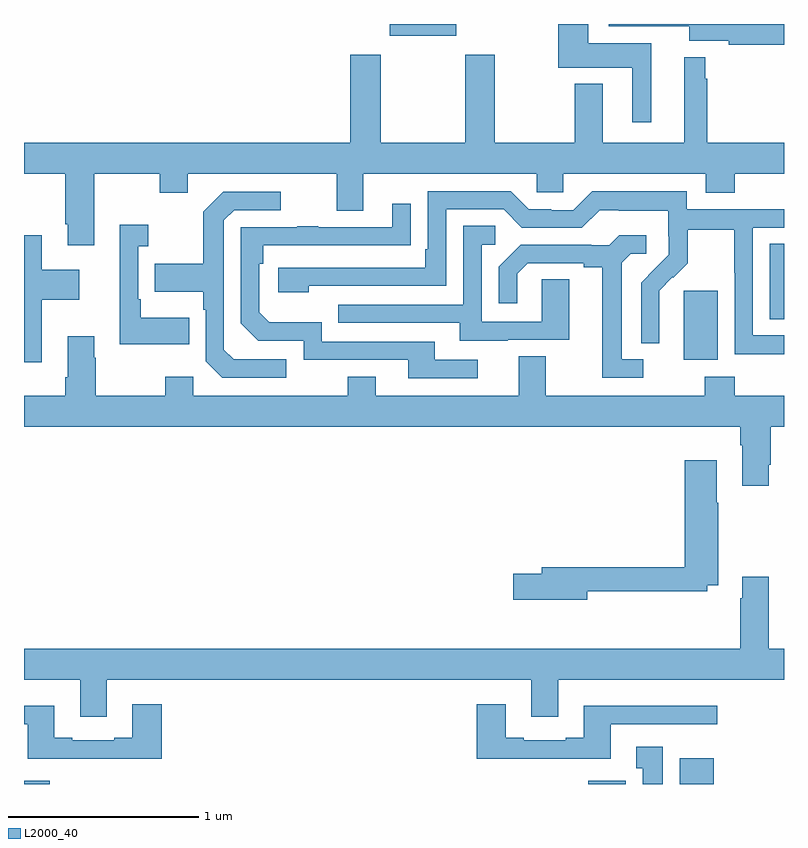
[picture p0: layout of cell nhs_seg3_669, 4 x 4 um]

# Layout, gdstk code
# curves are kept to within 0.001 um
import gdstk
lib = gdstk.Library(unit=1e-6, precision=1e-09)
def R(c, l, rs):  # rectangles x0, y0, x1, y1
    for r in rs: c.add(gdstk.rectangle(r[:2], r[2:], *l))
def P(c, l, *ps):  # polygons
    for p in ps: c.add(gdstk.Polygon(p, *l))
L2000_40 = (2000, 40)

nhs_seg3_669 = lib.new_cell('nhs_seg3_669')
R(nhs_seg3_669, L2000_40, [(145,668.4,145.135,668.416), (147.971,668.4,148.168,668.416), (148.451,668.4,148.63,668.536), (148.472,670.634,148.651,670.995), (148.925,670.846,149,671.243), (146.924,672.338,147.274,672.4)])
P(nhs_seg3_669, L2000_40, [(149,672.4),(148.077,672.4),(148.077,672.387),(148.502,672.387),(148.502,672.312),(148.708,672.312),(148.708,672.292),(149,672.292)],
  [(148.3,672.298),(147.97,672.298),(147.97,672.4),(147.812,672.4),(147.812,672.17),(148.202,672.17),(148.202,671.883),(148.3,671.883)],
  [(145.369,671.612),(145.714,671.612),(145.714,671.513),(145.861,671.513),(145.861,671.612),(146.645,671.612),(146.645,671.418),(146.785,671.418),(146.785,671.612),(147.699,671.612),(147.699,671.514),(147.837,671.514),(147.837,671.612),(148.589,671.612),(148.589,671.513),(148.742,671.513),(148.742,671.612),(149,671.612),(149,671.776),(148.597,671.776),(148.597,672.113),(148.586,672.113),(148.586,672.226),(148.475,672.226),(148.475,671.776),(148.045,671.776),(148.045,672.085),(147.898,672.085),(147.898,671.776),(147.477,671.776),(147.477,672.238),(147.322,672.238),(147.322,671.776),(146.877,671.776),(146.877,672.238),(146.717,672.238),(146.717,671.776),(145,671.776),(145,671.612),(145.217,671.612),(145.217,671.347),(145.229,671.347),(145.229,671.235),(145.369,671.235)],
  [(149,670.761),(148.836,670.761),(148.836,671.328),(149,671.328),(149,671.424),(148.488,671.424),(148.488,671.521),(147.991,671.521),(147.891,671.421),(147.776,671.421),(147.776,671.424),(147.657,671.424),(147.561,671.52),(147.126,671.52),(147.126,671.215),(147.113,671.215),(147.113,671.118),(146.337,671.118),(146.337,670.988),(146.498,670.988),(146.498,671.022),(147.222,671.022),(147.222,671.424),(147.525,671.424),(147.621,671.328),(147.936,671.328),(148.029,671.421),(148.129,671.421),(148.129,671.417),(148.392,671.417),(148.392,671.283),(148.394,671.283),(148.394,671.186),(148.248,671.038),(148.248,670.72),(148.344,670.72),(148.343,670.997),(148.413,671.067),(148.416,671.064),(148.493,671.141),(148.493,671.316),(148.738,671.316),(148.738,671.092),(148.74,671.092),(148.74,670.663),(149,670.663)],
  [(146.38,670.635),(146.103,670.635),(146.052,670.686),(146.052,671.367),(146.106,671.421),(146.35,671.421),(146.35,671.517),(146.049,671.517),(145.944,671.411),(145.944,671.139),(145.687,671.139),(145.687,670.991),(145.944,670.991),(145.944,670.895),(145.956,670.895),(145.956,670.626),(146.043,670.539),(146.38,670.539)],
  [(147.388,670.632),(147.163,670.632),(147.163,670.728),(146.568,670.728),(146.568,670.831),(146.291,670.831),(146.238,670.884),(146.238,671.138),(146.258,671.138),(146.258,671.235),(147.035,671.236),(147.035,671.455),(146.939,671.455),(146.939,671.331),(146.549,671.331),(146.549,671.336),(146.437,671.336),(146.437,671.331),(146.142,671.331),(146.142,670.824),(146.232,670.734),(146.472,670.734),(146.472,670.632),(147.023,670.632),(147.023,670.536),(147.388,670.536)],
  [(145.871,670.855),(145.615,670.855),(145.615,670.951),(145.602,670.951),(145.602,671.231),(145.654,671.231),(145.654,671.344),(145.505,671.344),(145.505,670.715),(145.871,670.715)],
  [(147.547,670.737),(147.871,670.737),(147.871,671.057),(147.726,671.057),(147.726,670.833),(147.408,670.833),(147.408,671.238),(147.481,671.238),(147.481,671.339),(147.312,671.339),(147.312,670.923),(146.653,670.923),(146.653,670.827),(147.293,670.827),(147.293,670.733),(147.547,670.733)],
  [(148.258,670.635),(148.147,670.635),(148.147,671.143),(148.194,671.19),(148.276,671.19),(148.276,671.287),(148.132,671.287),(148.08,671.235),(147.986,671.235),(147.986,671.238),(147.614,671.238),(147.498,671.122),(147.498,670.929),(147.595,670.929),(147.595,671.085),(147.652,671.142),(147.947,671.142),(147.947,671.12),(148.043,671.12),(148.043,670.539),(148.258,670.539)],
  [(145.093,670.949),(145.291,670.949),(145.291,671.107),(145.093,671.107),(145.093,671.287),(145,671.287),(145,670.62),(145.093,670.62)],
  [(148.921,670.081),(148.929,670.081),(148.929,670.28),(149,670.28),(149,670.444),(148.742,670.444),(148.742,670.543),(148.582,670.543),(148.582,670.444),(147.745,670.444),(147.745,670.652),(147.605,670.652),(147.605,670.444),(146.851,670.444),(146.851,670.543),(146.704,670.543),(146.704,670.444),(145.89,670.444),(145.89,670.543),(145.744,670.543),(145.744,670.444),(145.377,670.444),(145.377,670.643),(145.369,670.643),(145.369,670.756),(145.229,670.756),(145.229,670.54),(145.217,670.54),(145.217,670.444),(145,670.444),(145,670.28),(148.769,670.28),(148.769,670.184),(148.781,670.184),(148.781,669.969),(148.921,669.969)],
  [(147.964,669.414),(148.596,669.414),(148.596,669.446),(148.653,669.446),(148.653,669.881),(148.645,669.881),(148.645,670.105),(148.478,670.105),(148.478,669.542),(147.725,669.542),(147.725,669.506),(147.576,669.506),(147.576,669.371),(147.964,669.371)],
  [(145.435,668.948),(147.671,668.948),(147.671,668.754),(147.811,668.754),(147.811,668.948),(149,668.948),(149,669.112),(148.921,669.112),(148.921,669.49),(148.781,669.49),(148.781,669.377),(148.769,669.377),(148.769,669.112),(145,669.112),(145,668.948),(145.295,668.948),(145.295,668.754),(145.435,668.754)],
  [(148.087,668.715),(148.648,668.715),(148.648,668.812),(147.947,668.812),(147.947,668.644),(147.851,668.644),(147.851,668.631),(147.631,668.631),(147.631,668.644),(147.535,668.644),(147.535,668.821),(147.383,668.821),(147.383,668.534),(148.087,668.534)],
  [(145.724,668.821),(145.571,668.821),(145.571,668.644),(145.475,668.644),(145.475,668.631),(145.255,668.631),(145.255,668.644),(145.159,668.644),(145.159,668.812),(145,668.812),(145,668.715),(145.019,668.715),(145.019,668.534),(145.724,668.534)],
  [(148.363,668.596),(148.223,668.596),(148.223,668.483),(148.256,668.483),(148.256,668.4),(148.363,668.4)])

lib.write_gds('nhs_seg3_669.gds')
